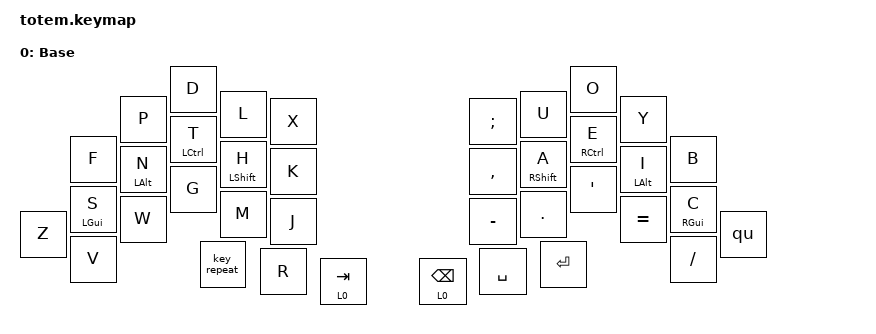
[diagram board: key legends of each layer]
// -*- mode: c++; tab-width: 16 -*-

#include <behaviors.dtsi>
#include <dt-bindings/zmk/keys.h>

/ {
    behaviors {
        hml: hml {
            compatible = "zmk,behavior-hold-tap";
            label = "HML";
            bindings = <&kp>, <&kp>;

            #binding-cells = <2>;
            tapping-term-ms = <280>;
            require-prior-idle-ms = <150>;
            flavor = "balanced";
            hold-while-undecided;
            hold-trigger-on-release;
            hold-trigger-key-positions = <5 15 16 6 8 16 17 18 27 28 29 5 6 7 8 9 15 16 17 18 19 26 27 28 29 30 31 37 36 35>;
        };

        hmr: hmr {
            compatible = "zmk,behavior-hold-tap";
            label = "HMR";
            bindings = <&kp>, <&kp>;

            #binding-cells = <2>;
            tapping-term-ms = <280>;
            require-prior-idle-ms = <150>;
            flavor = "balanced";
            hold-while-undecided;
            hold-trigger-on-release;
            hold-trigger-key-positions = <0 1 2 3 4 10 11 12 13 14 20 21 22 23 24 25 32 33 34>;
        };

        qu_or_kp: qu_or_kp {
            compatible = "zmk,behavior-hold-tap";
            label = "QU_OR_KP";
            bindings = <&kp>, <&qu>;

            #binding-cells = <2>;
            tapping-term-ms = <200>;
            flavor = "tap-preferred";
        };

        hmr_alt: hmr_alt {
            compatible = "zmk,behavior-hold-tap";
            label = "HMR_ALT";
            bindings = <&kp>, <&kp>;

            #binding-cells = <2>;
            tapping-term-ms = <280>;
            require-prior-idle-ms = <150>;
            flavor = "balanced";
            hold-trigger-on-release;
            hold-trigger-key-positions = <0 1 2 3 4 10 11 12 13 14 20 21 22 23 24 25 32 33 34>;
        };

        hml_alt: hml_alt {
            compatible = "zmk,behavior-hold-tap";
            label = "HML_ALT";
            bindings = <&kp>, <&kp>;

            #binding-cells = <2>;
            tapping-term-ms = <280>;
            require-prior-idle-ms = <150>;
            flavor = "balanced";
            hold-trigger-on-release;
            hold-trigger-key-positions = <5 15 16 6 8 16 17 18 27 28 29 5 6 7 8 9 15 16 17 18 19 26 27 28 29 30 31 37 36 35>;
        };
    };

    combos {
        compatible = "zmk,combos";

        combo_esc {
            timeout-ms = <50>;
            key-positions = <0 1>;
            bindings = <&kp ESC>;
        };

        combo_q {
            bindings = <&kp Q>;
            key-positions = <31 36>;
        };
    };

    macros {
        qu: qu {
            compatible = "zmk,behavior-macro";
            #binding-cells = <0>;
            bindings =
                <&kp Q>,
                <&macro_release>,
                <&kp LSHIFT &kp RSHFT>,
                <&macro_tap>,
                <&kp U>;

            label = "QU";
        };
    };

    keymap {
        compatible = "zmk,keymap";

        base_layer {
            display-name = "Base";
            bindings = <
       &kp F        &kp P            &kp D         &kp L         &kp X        &kp SEMI    &kp U         &kp O         &kp Y            &kp B
       &hml LGUI S  &hml_alt LALT N  &hml LCTRL T  &hml LSHFT H  &kp K        &kp COMMA   &hmr RSHFT A  &hmr RCTRL E  &hmr_alt LALT I  &hmr RGUI C
&kp Z  &kp V        &kp W            &kp G         &kp M         &kp J        &kp MINUS   &kp DOT       &kp APOS      &kp EQUAL        &kp SLASH    &qu
                                     &key_repeat   &kp R         &lt 0 TAB    &lt 0 BSPC  &kp SPACE     &kp RET
            >;

            label = "Base";
        };
    };
};
